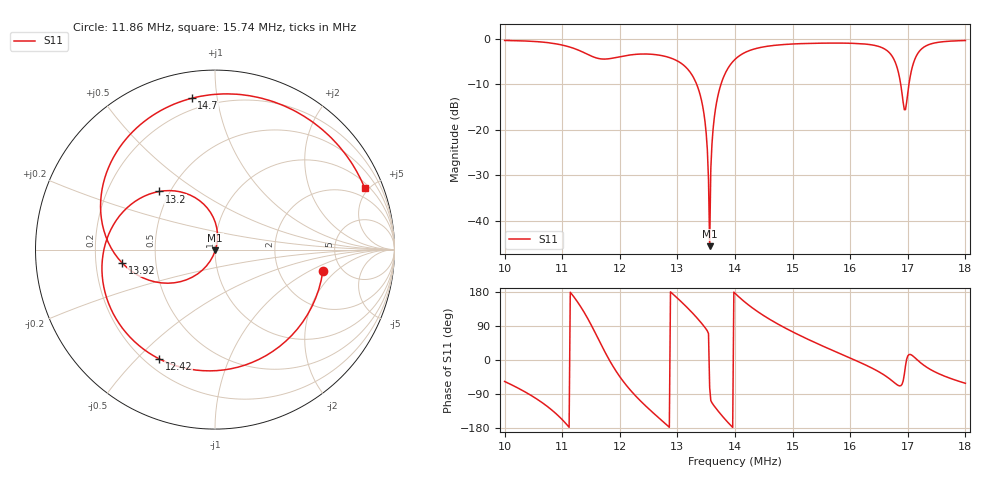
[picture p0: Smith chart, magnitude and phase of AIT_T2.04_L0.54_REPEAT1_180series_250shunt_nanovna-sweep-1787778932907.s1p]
! NanoVNA Web complex sweep
! Processing: original sample grid, no browser smoothing
# Hz S RI R 50
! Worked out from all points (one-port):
!   401 points, 10 MHz to 18 MHz, reference 50 ohm
!   lowest |S11| = -45.6 dB at 13.56 MHz (marker M1), VSWR 1.01, Z = 50.2 - j0.499 ohm
!   |S11| at or under -10 dB: 13.33 MHz to 13.76 MHz (421.1 kHz wide, 3.11 % of centre); 16.88 MHz to 17.02 MHz (142.4 kHz wide, 0.84 % of centre)
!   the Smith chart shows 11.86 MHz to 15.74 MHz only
!   S11 on the Smith chart (normalised r, x): 11.86 MHz: 3.61, -1.36; 12.42 MHz: 0.25, -0.58; 13.2 MHz: 0.44, +0.36; 13.92 MHz: 0.32, -0.07; 14.7 MHz: 0.14, +0.85; 15.74 MHz: 1.29, +4.73
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1e7  0.5301 -0.8049
1.056e7  -0.2113 -0.9114
1.1e7  -0.7911 -0.3303
1.124e7  -0.72 0.2796
1.146e7  -0.1703 0.6464
1.168e7  0.4654 0.3832
1.186e7  0.6012 -0.1177
1.2e7  0.4586 -0.4431
1.242e7  -0.3107 -0.6091
1.272e7  -0.6121 -0.2402
1.3e7  -0.5486 0.1653
1.32e7  -0.3107 0.3239
1.342e7  -0.025 0.207
1.356e7  0.0016 -0.00497
1.368e7  -0.1273 -0.1541
1.392e7  -0.5165 -0.0753
1.4e7  -0.595 0.0407
1.428e7  -0.5795 0.4874
1.47e7  -0.1288 0.8433
1.5e7  0.2382 0.8482
1.574e7  0.8343 0.3422
1.6e7  0.8919 0.0785
1.668e7  0.461 -0.5353
1.688e7  0.1172 -0.2853
1.7e7  0.2516 0.0477
1.712e7  0.5895 0.067
1.73e7  0.7967 -0.2316
1.8e7  0.459 -0.8455
